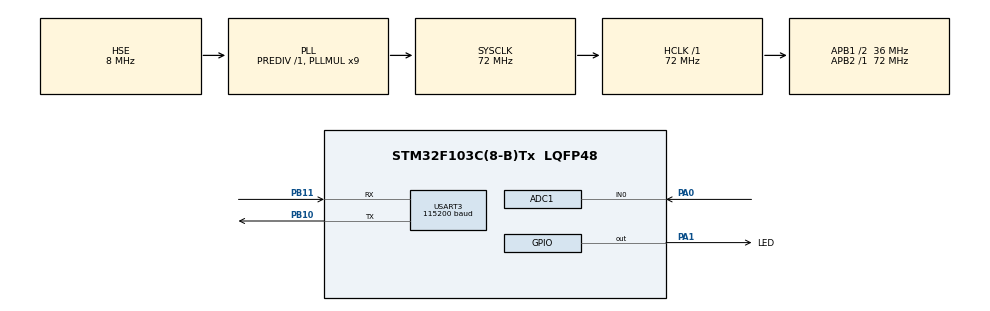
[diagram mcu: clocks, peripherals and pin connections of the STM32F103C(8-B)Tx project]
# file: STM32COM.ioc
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Mcu.Family=STM32F1
NVIC.USART3_IRQn=true\:0\:0\:false\:false\:true\:true\:true
Dma.USART3_RX.0.Instance=DMA1_Channel3
RCC.PLLSourceVirtual=RCC_PLLSOURCE_HSE
NVIC.ADC1_2_IRQn=true\:0\:0\:false\:false\:true\:true\:true
Dma.USART3_TX.1.MemDataAlignment=DMA_MDATAALIGN_BYTE
Dma.USART3_RX.0.PeriphInc=DMA_PINC_DISABLE
PD1-OSC_OUT.Mode=HSE-External-Oscillator
PB10.Mode=Asynchronous
ADC1.ContinuousConvMode=ENABLE
Dma.USART3_TX.1.MemInc=DMA_MINC_ENABLE
Dma.USART3_TX.1.PeriphDataAlignment=DMA_PDATAALIGN_BYTE
NVIC.TIM1_UP_IRQn=true\:0\:0\:false\:false\:true\:true\:true
PD0-OSC_IN.Signal=RCC_OSC_IN
Dma.USART3_TX.1.Instance=DMA1_Channel2
RCC.APB1CLKDivider=RCC_HCLK_DIV2
PB11.Signal=USART3_RX
RCC.SYSCLKSource=RCC_SYSCLKSOURCE_PLLCLK
ProjectManager.StackSize=0x400
Dma.USART3_RX.0.Mode=DMA_CIRCULAR
PA0-WKUP.Signal=ADCx_IN0
ADC1.Channel-7\#ChannelRegularConversion=ADC_CHANNEL_0
PD1-OSC_OUT.Signal=RCC_OSC_OUT
RCC.ADCPresc=RCC_ADCPCLK2_DIV6
NVIC.DMA1_Channel3_IRQn=true\:0\:0\:false\:false\:true\:false\:true
PA13.Signal=SYS_JTMS-SWDIO
TIM1.Prescaler=7200-1
USART3.BaudRate=115200
PB11.Mode=Asynchronous
NVIC.DMA1_Channel2_IRQn=true\:0\:0\:false\:false\:true\:false\:true
ProjectManager.TargetToolchain=STM32CubeIDE
RCC.HCLKFreq_Value=72000000
RCC.APB2TimFreq_Value=72000000
RCC.USBFreq_Value=72000000
PA1.Signal=GPIO_Output
RCC.AHBFreq_Value=72000000
PD0-OSC_IN.Mode=HSE-External-Oscillator
PB10.Signal=USART3_TX
Dma.USART3_RX.0.MemDataAlignment=DMA_MDATAALIGN_BYTE
board=custom
Dma.USART3_TX.1.Mode=DMA_NORMAL
RCC.PLLMUL=RCC_PLL_MUL9
RCC.APB2Freq_Value=72000000
VP_TIM2_VS_ClockSourceINT.Mode=Internal
PA14.Mode=Serial_Wire
NVIC.TIM2_IRQn=true\:0\:0\:false\:false\:true\:true\:true
PA1.GPIO_Label=LED
Dma.USART3_RX.0.PeriphDataAlignment=DMA_PDATAALIGN_BYTE
SH.ADCx_IN0.0=ADC1_IN0,IN0
TIM2.Period=50000-1
PA13.Mode=Serial_Wire
Mcu.Name=STM32F103C(8-B)Tx
VP_TIM1_VS_ClockSourceINT.Mode=Internal
Dma.USART3_TX.1.Priority=DMA_PRIORITY_LOW
RCC.SYSCLKFreq_VALUE=72000000
Dma.USART3_RX.0.Direction=DMA_PERIPH_TO_MEMORY
Mcu.Package=LQFP48
Dma.USART3_RX.0.Priority=DMA_PRIORITY_LOW
TIM2.Prescaler=7200-1
ADC1.master=1
USART3.VirtualMode=VM_ASYNC
PA14.Signal=SYS_JTCK-SWCLK
ProjectManager.HeapSize=0x200
Dma.USART3_RX.0.MemInc=DMA_MINC_ENABLE
ADC1.Rank-7\#ChannelRegularConversion=1
NVIC.PriorityGroup=NVIC_PRIORITYGROUP_4
ADC1.NbrOfConversionFlag=1
Dma.USART3_TX.1.Direction=DMA_MEMORY_TO_PERIPH
ADC1.EnableRegularConversion=ENABLE
Dma.Request1=USART3_TX
RCC.APB1TimFreq_Value=72000000
TIM1.Period=5000-1
ADC1.SamplingTime-7\#ChannelRegularConversion=ADC_SAMPLETIME_1CYCLE_5
Dma.USART3_TX.1.PeriphInc=DMA_PINC_DISABLE
Dma.Request0=USART3_RX
RCC.APB1Freq_Value=36000000

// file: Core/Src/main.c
/* USER CODE BEGIN Header */
/**
  ******************************************************************************
  * @file           : main.c
  * @brief          : Main program body
  ******************************************************************************
  * @attention
  *
  * <h2><center>&copy; Copyright (c) 2021 STMicroelectronics.
  * All rights reserved.</center></h2>
  *
  * This software component is licensed by ST under BSD 3-Clause license,
  * the "License"; You may not use this file except in compliance with the
  * License. You may obtain a copy of the License at:
  *                        opensource.org/licenses/BSD-3-Clause
  *
  ******************************************************************************
  */
/* USER CODE END Header */
#include "main.h"

/* USER CODE BEGIN Includes */
#include "xtea.h"
#include "crc16ccitt.h"
#include "uartcom.h"
#include "sensor.h"

#include <stdbool.h> //There is no real true or false anymore
#include <stdio.h>	 //sprintf
#include <string.h>

/* USER CODE END Includes */

ADC_HandleTypeDef hadc1;

TIM_HandleTypeDef htim1;
TIM_HandleTypeDef htim2;

UART_HandleTypeDef huart3;
DMA_HandleTypeDef hdma_usart3_rx;
DMA_HandleTypeDef hdma_usart3_tx;

/* USER CODE BEGIN PV */

DMA_STRUCT dma_info = {0,0,0,DMA_TIMEOUT_MS,DMA_BUF_SIZE,{'\0'}};
SENS_STRUCT sensor = {0,0,0,0};

/*Variables UART*/
uint8_t dma_rx_buf[DMA_BUF_SIZE];       /* Circular buffer for DMA */
//uint8_t data[DMA_BUF_SIZE] = {'\0'};    /* Data buffer that contains newly received data -*/

//uint8_t err_msg[4] = {'e','r','r','\n'};
uint8_t TxBuffer[10];				//Sending buffer
uint8_t TxLen;						//Length of the data to be sent
//uint8_t SensorValue = 's';
//char Filler = 'x';
//char startMaker = '<';
uint8_t data_len;
uint16_t test_array[DMA_BUF_SIZE];

/*Variables ADC*/
uint16_t adc_value;
uint8_t adc_complete_flag;
//uint8_t adc_send_buffer[5];

/*Variables Timer*/
volatile uint8_t timer1_f; //flags for timers
volatile uint8_t timer2_f;

/*Variables for XTEA*/
uint32_t xt_data[2] = {0x266e817d,0xbacd5035}; //2*32Bit Data
uint32_t xt_key[4] = {KEY1,KEY2,KEY3,KEY4};	  //128Bit Key

uint8_t Test[6] = {0x3c,0x30,0x31,0x30,0xa6,0x99};
uint16_t return_crc_test = 0;
double var,var1,var2 = 0.0;

/* USER CODE END PV */

void SystemClock_Config(void);
static void MX_GPIO_Init(void);
static void MX_DMA_Init(void);
static void MX_USART3_UART_Init(void);
static void MX_ADC1_Init(void);
static void MX_TIM2_Init(void);
static void MX_TIM1_Init(void);

/* USER CODE BEGIN 0 */
//Prototypes for Callbacks
void HAL_UART_RxCpltCallback(UART_HandleTypeDef *huart);
void HAL_UART_TxCpltCallback(UART_HandleTypeDef *huart);
void HAL_ADC_ConvCpltCallback(ADC_HandleTypeDef *hadc);
void HAL_TIM_PeriodElapsedCallback(TIM_HandleTypeDef *htim);
/* USER CODE END 0 */

int main(void)
{

  /* MCU Configuration--------------------------------------------------------*/

  /* Reset of all peripherals, Initializes the Flash interface and the Systick. */
  HAL_Init();

  /* Configure the system clock */
  SystemClock_Config();

  /* Initialize all configured peripherals */
  MX_GPIO_Init();
  MX_DMA_Init();
  MX_USART3_UART_Init();
  MX_ADC1_Init();
  MX_TIM2_Init();
  MX_TIM1_Init();
  /* USER CODE BEGIN 2 */
  HAL_ADCEx_Calibration_Start(&hadc1);	//Calibrate ADC
  //HAL_ADC_Start_IT(&hadc1);

  //HAL_TIM_Base_Start_IT(&htim2);
  //HAL_TIM_Base_Start_IT(&htim1);

  __HAL_UART_ENABLE_IT(&huart3,UART_IT_IDLE);			//Enable Idle Line Interrupt

  if(HAL_UART_Receive_DMA(&huart3, dma_rx_buf, DMA_BUF_SIZE)==HAL_ERROR)			//Catch possible fault
  {
	  Error_Handler();
  }

  /* USER CODE END 2 */

  /* Infinite loop */
  while (1)
  {

    /* USER CODE BEGIN 3 */
	  if(sensor.adc_flag == 1)
	  {
		  if (sensor.cal_flag == 1)
		  {
			  sensor.percentage = val_sens(hadc1, &sensor);	//read sensor and convert to %
			  sensor.adc_flag = 0;
			  //sensor.an_value = HAL_ADC_GetValue(&hadc1);
			  //if(sensor.an_value-sensor.wet_value > 0)										//check if the value is positive
			  //{
			  //sensor.percentage = 100-((sensor.wet_value-sensor.an_value)*100)/(sensor.wet_value-sensor.dry_value); // ((an_value-wet)*100) / (dry-wet)
			  //}
			  //else
			  //{
			  //sensor.percentage = 0;
			  //}
			  TxLen = an_send(sensor.percentage, TxBuffer);
			  HAL_UART_Transmit_DMA(&huart3, TxBuffer, TxLen);
			  tx_wait(&dma_info);
		  }
		  else
		  {
			  TxLen = er_send(ER_CAL,TxBuffer);
			  HAL_UART_Transmit_DMA(&huart3, TxBuffer, TxLen);
			  tx_wait(&dma_info);
		  }

		  //xt_data[0] = (SensorValue<<24 | adc_send_buffer[1]<<16 | adc_send_buffer[0]<<8 | Filler);  //Concatenate Hex input to one uint32t
		  //xt_data[1] = (Filler<<24 | Filler<<16 | Filler<<8 | Filler);

		  //Encrypt_XTEA(xt_data, xt_key);
//		  sprintf(adc_send_buffer,"%d",adc_value);
//		  crc16_calc = CRC16_buf(adc_send_buffer, 5);

		  adc_complete_flag = 0;
	  }

	  if(dma_info.av_flag == 1)
	  {
		  //sensor.calibrated =1;
		  //sensor.percentage=100;
		  dma_info.av_flag = 0;
		  //HAL_GPIO_TogglePin(LED_GPIO_Port, LED_Pin);
		  data_len = data_check(dma_info.data);

		  if (data_len != 0) {
			  switch (dma_info.data[3]) {

				case STATUS:
					HAL_GPIO_TogglePin(LED_GPIO_Port, LED_Pin);
					TxLen = ack_send(STATUS, TxBuffer);
					HAL_UART_Transmit_DMA(&huart3, TxBuffer, TxLen);
					tx_wait(&dma_info);

					TxLen = stat_send(TxBuffer);
					HAL_UART_Transmit_DMA(&huart3, TxBuffer, TxLen);
					tx_wait(&dma_info);
					break;

				case CALIBRATE:
					TxLen = ack_send(CALIBRATE, TxBuffer);
					HAL_UART_Transmit_DMA(&huart3, TxBuffer, TxLen);
					tx_wait(&dma_info);

					sensor.cal_flag = cal_sens(hadc1,&sensor);
					if (sensor.cal_flag == 0)					//Sensor was not calibrated
					{
						TxLen = er_send(ER_CAL,TxBuffer);
						HAL_UART_Transmit_DMA(&huart3, TxBuffer, TxLen);
						tx_wait(&dma_info);
					}

					break;

				case SEND_VAL:
					TxLen = ack_send(SEND_VAL, TxBuffer);
					HAL_UART_Transmit_DMA(&huart3, TxBuffer, TxLen);
					tx_wait(&dma_info);

					if (dma_info.data[4] == '1')
					{
						if(sensor.cal_flag == 1)
						{
							//enable timer for adc
							HAL_TIM_Base_Start_IT(&htim1);
						}
						else
						{
							TxLen = er_send(ER_NOT_CAL,TxBuffer);
							HAL_UART_Transmit_DMA(&huart3, TxBuffer, TxLen);
							tx_wait(&dma_info);
						}
					}
					else
					{
						//disable timer for adc
						HAL_TIM_Base_Stop_IT(&htim1);
					}
					break;

				default:
					TxLen = er_send(ER_UN_MSG,TxBuffer);
					HAL_UART_Transmit_DMA(&huart3, TxBuffer, TxLen);
					tx_wait(&dma_info);

					break;
			}

		}

			  //snprintf(TxBuffer, sizeof(TxBuffer),"%d", adc_value);

			  //HAL_UART_Transmit_DMA(&huart3, TxBuffer, sizeof(TxBuffer));

			  //xt_data[0] = (data[1]<<24 | data[2]<<16 | data[3]<<8 | data[4]);  //Concatenate Hex input to one uint32t
			  //xt_data[1] = (data[5]<<24 | data[6]<<16 | data[7]<<8 | data[8]);
			  //Decrypt_XTEA(xt_data, xt_key);

//			  for (int i = 0; i < sizeof(data); ++i) {
//				data[i] = 0;
			}

//		  else
//		  {
//			  HAL_UART_Transmit_DMA(&huart3, err_msg, 4);
//		  }
//	  }

  }
  /* USER CODE END 3 */
}

void SystemClock_Config(void)
{
  RCC_OscInitTypeDef RCC_OscInitStruct = {0};
  RCC_ClkInitTypeDef RCC_ClkInitStruct = {0};
  RCC_PeriphCLKInitTypeDef PeriphClkInit = {0};

  /** Initializes the RCC Oscillators according to the specified parameters
  * in the RCC_OscInitTypeDef structure.
  */
  RCC_OscInitStruct.OscillatorType = RCC_OSCILLATORTYPE_HSE;
  RCC_OscInitStruct.HSEState = RCC_HSE_ON;
  RCC_OscInitStruct.HSEPredivValue = RCC_HSE_PREDIV_DIV1;
  RCC_OscInitStruct.HSIState = RCC_HSI_ON;
  RCC_OscInitStruct.PLL.PLLState = RCC_PLL_ON;
  RCC_OscInitStruct.PLL.PLLSource = RCC_PLLSOURCE_HSE;
  RCC_OscInitStruct.PLL.PLLMUL = RCC_PLL_MUL9;
  if (HAL_RCC_OscConfig(&RCC_OscInitStruct) != HAL_OK)
  {
    Error_Handler();
  }
  /** Initializes the CPU, AHB and APB buses clocks
  */
  RCC_ClkInitStruct.ClockType = RCC_CLOCKTYPE_HCLK|RCC_CLOCKTYPE_SYSCLK
                              |RCC_CLOCKTYPE_PCLK1|RCC_CLOCKTYPE_PCLK2;
  RCC_ClkInitStruct.SYSCLKSource = RCC_SYSCLKSOURCE_PLLCLK;
  RCC_ClkInitStruct.AHBCLKDivider = RCC_SYSCLK_DIV1;
  RCC_ClkInitStruct.APB1CLKDivider = RCC_HCLK_DIV2;
  RCC_ClkInitStruct.APB2CLKDivider = RCC_HCLK_DIV1;

  if (HAL_RCC_ClockConfig(&RCC_ClkInitStruct, FLASH_LATENCY_2) != HAL_OK)
  {
    Error_Handler();
  }
  PeriphClkInit.PeriphClockSelection = RCC_PERIPHCLK_ADC;
  PeriphClkInit.AdcClockSelection = RCC_ADCPCLK2_DIV6;
  if (HAL_RCCEx_PeriphCLKConfig(&PeriphClkInit) != HAL_OK)
  {
    Error_Handler();
  }
}

static void MX_ADC1_Init(void)
{

  ADC_ChannelConfTypeDef sConfig = {0};

  /** Common config
  */
  hadc1.Instance = ADC1;
  hadc1.Init.ScanConvMode = ADC_SCAN_DISABLE;
  hadc1.Init.ContinuousConvMode = ENABLE;
  hadc1.Init.DiscontinuousConvMode = DISABLE;
  hadc1.Init.ExternalTrigConv = ADC_SOFTWARE_START;
  hadc1.Init.DataAlign = ADC_DATAALIGN_RIGHT;
  hadc1.Init.NbrOfConversion = 1;
  if (HAL_ADC_Init(&hadc1) != HAL_OK)
  {
    Error_Handler();
  }
  /** Configure Regular Channel
  */
  sConfig.Channel = ADC_CHANNEL_0;
  sConfig.Rank = ADC_REGULAR_RANK_1;
  sConfig.SamplingTime = ADC_SAMPLETIME_1CYCLE_5;
  if (HAL_ADC_ConfigChannel(&hadc1, &sConfig) != HAL_OK)
  {
    Error_Handler();
  }

}

static void MX_TIM1_Init(void)
{

  TIM_ClockConfigTypeDef sClockSourceConfig = {0};
  TIM_MasterConfigTypeDef sMasterConfig = {0};

  htim1.Instance = TIM1;
  htim1.Init.Prescaler = 7200-1;
  htim1.Init.CounterMode = TIM_COUNTERMODE_UP;
  htim1.Init.Period = 5000-1;
  htim1.Init.ClockDivision = TIM_CLOCKDIVISION_DIV1;
  htim1.Init.RepetitionCounter = 0;
  htim1.Init.AutoReloadPreload = TIM_AUTORELOAD_PRELOAD_DISABLE;
  if (HAL_TIM_Base_Init(&htim1) != HAL_OK)
  {
    Error_Handler();
  }
  sClockSourceConfig.ClockSource = TIM_CLOCKSOURCE_INTERNAL;
  if (HAL_TIM_ConfigClockSource(&htim1, &sClockSourceConfig) != HAL_OK)
  {
    Error_Handler();
  }
  sMasterConfig.MasterOutputTrigger = TIM_TRGO_RESET;
  sMasterConfig.MasterSlaveMode = TIM_MASTERSLAVEMODE_DISABLE;
  if (HAL_TIMEx_MasterConfigSynchronization(&htim1, &sMasterConfig) != HAL_OK)
  {
    Error_Handler();
  }

}

static void MX_TIM2_Init(void)
{

  TIM_ClockConfigTypeDef sClockSourceConfig = {0};
  TIM_MasterConfigTypeDef sMasterConfig = {0};

  htim2.Instance = TIM2;
  htim2.Init.Prescaler = 7200-1;
  htim2.Init.CounterMode = TIM_COUNTERMODE_UP;
  htim2.Init.Period = 50000-1;
  htim2.Init.ClockDivision = TIM_CLOCKDIVISION_DIV1;
  htim2.Init.AutoReloadPreload = TIM_AUTORELOAD_PRELOAD_DISABLE;
  if (HAL_TIM_Base_Init(&htim2) != HAL_OK)
  {
    Error_Handler();
  }
  sClockSourceConfig.ClockSource = TIM_CLOCKSOURCE_INTERNAL;
  if (HAL_TIM_ConfigClockSource(&htim2, &sClockSourceConfig) != HAL_OK)
  {
    Error_Handler();
  }
  sMasterConfig.MasterOutputTrigger = TIM_TRGO_RESET;
  sMasterConfig.MasterSlaveMode = TIM_MASTERSLAVEMODE_DISABLE;
  if (HAL_TIMEx_MasterConfigSynchronization(&htim2, &sMasterConfig) != HAL_OK)
  {
    Error_Handler();
  }

}

static void MX_USART3_UART_Init(void)
{

  huart3.Instance = USART3;
  huart3.Init.BaudRate = 115200;
  huart3.Init.WordLength = UART_WORDLENGTH_8B;
  huart3.Init.StopBits = UART_STOPBITS_1;
  huart3.Init.Parity = UART_PARITY_NONE;
  huart3.Init.Mode = UART_MODE_TX_RX;
  huart3.Init.HwFlowCtl = UART_HWCONTROL_NONE;
  huart3.Init.OverSampling = UART_OVERSAMPLING_16;
  if (HAL_UART_Init(&huart3) != HAL_OK)
  {
    Error_Handler();
  }

}

static void MX_DMA_Init(void)
{

  /* DMA controller clock enable */
  __HAL_RCC_DMA1_CLK_ENABLE();

  /* DMA interrupt init */
  /* DMA1_Channel2_IRQn interrupt configuration */
  HAL_NVIC_SetPriority(DMA1_Channel2_IRQn, 0, 0);
  HAL_NVIC_EnableIRQ(DMA1_Channel2_IRQn);
  /* DMA1_Channel3_IRQn interrupt configuration */
  HAL_NVIC_SetPriority(DMA1_Channel3_IRQn, 0, 0);
  HAL_NVIC_EnableIRQ(DMA1_Channel3_IRQn);

}

static void MX_GPIO_Init(void)
{
  GPIO_InitTypeDef GPIO_InitStruct = {0};

  /* GPIO Ports Clock Enable */
  __HAL_RCC_GPIOD_CLK_ENABLE();
  __HAL_RCC_GPIOA_CLK_ENABLE();
  __HAL_RCC_GPIOB_CLK_ENABLE();

  /*Configure GPIO pin Output Level */
  HAL_GPIO_WritePin(LED_GPIO_Port, LED_Pin, GPIO_PIN_RESET);

  /*Configure GPIO pin : LED_Pin */
  GPIO_InitStruct.Pin = LED_Pin;
  GPIO_InitStruct.Mode = GPIO_MODE_OUTPUT_PP;
  GPIO_InitStruct.Pull = GPIO_NOPULL;
  GPIO_InitStruct.Speed = GPIO_SPEED_FREQ_LOW;
  HAL_GPIO_Init(LED_GPIO_Port, &GPIO_InitStruct);

}

/* USER CODE BEGIN 4 */
/*Timer Callback*/
void HAL_TIM_PeriodElapsedCallback(TIM_HandleTypeDef *htim)
{
	//HAL_GPIO_TogglePin(LED_GPIO_Port, LED_Pin);

	/*Check which timer isr fired*/
	if(htim->Instance == TIM1)
	{
		HAL_ADC_Start_IT(&hadc1);
	}
	if(htim->Instance == TIM2)
	{
		//HAL_GPIO_TogglePin(LED_GPIO_Port, LED_Pin);
		HAL_TIM_Base_Stop_IT(&htim2);
		sensor.timer_flag= 1;
	}
}

/*ADC Callback*/
void HAL_ADC_ConvCpltCallback(ADC_HandleTypeDef *hadc)
{
	//HAL_GPIO_TogglePin(LED_GPIO_Port, LED_Pin);
	HAL_ADC_Stop_IT(&hadc1);
	sensor.adc_flag = 1;
}

/*Callback for a full receive buffer*/
void HAL_UART_RxCpltCallback(UART_HandleTypeDef *huart)
{
    uint16_t  pos, start, length;
    uint16_t currCOUNT = __HAL_DMA_GET_COUNTER(huart->hdmarx);

    /* Ignore timeout flag if the buffer is perfectly filled but there was no new data until timeout*/
    if(dma_info.t_flag && currCOUNT == DMA_BUF_SIZE)
    {
        dma_info.t_flag = 0;
        return;
    }

    /* Calc the start value based on the length of the previous data */
    if(dma_info.prevCOUNT<DMA_BUF_SIZE)
    {
    	start = (DMA_BUF_SIZE-dma_info.prevCOUNT);
    }
    else
    {
    	start = 0;
    }

    if(dma_info.t_flag)    /* Timeout event */
    {
        /* Calc the length data */

    	if(dma_info.prevCOUNT < DMA_BUF_SIZE)
    	{
    		length = dma_info.prevCOUNT - currCOUNT; //There is old data to be ignored
    	}
    		else
    		{
    			length = DMA_BUF_SIZE - currCOUNT;  //Everything is new until the current position
    		}
		dma_info.prevCOUNT = currCOUNT;				//pass current position
        dma_info.t_flag = 0;
    }
    	else                /* DMA Rx Complete event -> the entire buffer is full */
    	{
    		length = DMA_BUF_SIZE - start;
    		dma_info.prevCOUNT = DMA_BUF_SIZE;
    	}

    /* Copy and Process new data */
    for(uint16_t i=0,pos=start; i<length; ++i,++pos)
    {
        dma_info.data[i] = dma_rx_buf[pos];
    }
    dma_info.av_flag = 1;

    /*Bounce data back if the previous msg was sent out*/
//    if(dma_info.tx_flag == 0)
//    {
//    	HAL_UART_Transmit_DMA(&huart3, data, length);
//    	dma_info.tx_flag = 1;
//    }

}

/*Callback when Transmission was 1/2 completed*/
void HAL_UART_TxHalfCpltCallback(UART_HandleTypeDef *huar)
{

}
/*Callback when transmission was completed*/
void HAL_UART_TxCpltCallback(UART_HandleTypeDef *huart)
{
	dma_info.tx_flag = 1;
}

/* USER CODE END 4 */

void Error_Handler(void)
{
  __disable_irq();
  while (1)
  {
  }
}

/************************ (C) COPYRIGHT STMicroelectronics *****END OF FILE****/
